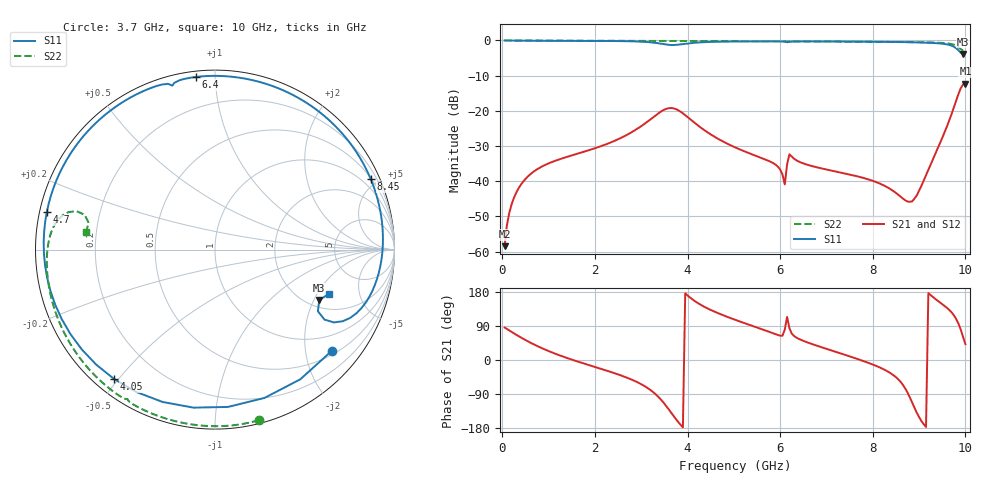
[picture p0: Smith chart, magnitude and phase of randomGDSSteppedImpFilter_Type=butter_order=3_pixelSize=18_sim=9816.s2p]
! freq	dB(S11)	phase(S11)	dB(S12)	phase(S12)
!  dB(S21)	phase(S21)	dB(S22)	phase(S22)
!S-par simulation data
#  GHz  S  DB  R 50
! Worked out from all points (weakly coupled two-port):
!   200 points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, 50 MHz to 10 GHz, reference 50 ohm
!   highest |S21| = -12.27 dB at 10 GHz (marker M1); lowest = -58.5 dB at 50 MHz (marker M2)
!   lowest |S11| = -3.8 dB at 9.95 GHz (marker M3), VSWR 4.64, Z = 115 - j110 ohm
!   |S11| at or under -10 dB: nowhere
!   |S22| runs from -2.9 to 0.0 dB; largest |S21 - S12| = 0
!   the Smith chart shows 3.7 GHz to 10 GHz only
!   S11 on the Smith chart (normalised r, x): 3.7 GHz: 0.59, -2.57; 4.05 GHz: 0.06, -0.49; 4.7 GHz: 0.02, +0.11; 6.4 GHz: 0.03, +0.90; 8.45 GHz: 0.54, +4.58; 10 GHz: 2.78, -2.55
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0.05  -0.01 -6.8  -58.46 85.6  -58.46 85.6  -0.00 -1.1
0.25  -0.04 -33.3  -44.76 70.4  -44.76 70.4  -0.01 -5.4
0.7  -0.09 -84.7  -37.06 40.1  -37.06 40.1  -0.02 -15.0
1.75  -0.12 -162.0  -31.68 -8.8  -31.68 -8.8  -0.05 -37.0
2.75  -0.23 136.8  -26.40 -49.5  -26.40 -49.5  -0.08 -57.3
3.15  -0.47 95.6  -22.92 -74.9  -22.92 -74.9  -0.11 -65.2
3.4  -0.86 49.3  -20.44 -101.1  -20.44 -101.1  -0.14 -70.1
3.55  -1.18 7.8  -19.39 -123.0  -19.39 -123.0  -0.15 -72.9
3.7  -1.30 -40.8  -19.30 -147.9  -19.30 -147.9  -0.16 -75.6
3.85  -1.11 -85.3  -20.24 -171.0  -20.24 -171.0  -0.15 -78.3
4.05  -0.78 -127.9  -22.29 165.2  -22.29 165.2  -0.14 -82.1
4.7  -0.35 167.4  -28.25 121.5  -28.25 121.5  -0.15 -94.2
5.05  -0.30 148.5  -30.51 105.1  -30.51 105.1  -0.16 -100.6
6.1  -0.36 105.8  -40.90 80.5  -40.90 80.5  -0.25 -119.7
6.2  -0.39 103.7  -32.36 83.9  -32.36 83.9  -0.27 -120.9
6.4  -0.28 96.2  -34.40 55.9  -34.40 55.9  -0.24 -124.6
6.7  -0.29 85.7  -35.74 41.6  -35.74 41.6  -0.26 -130.0
8.35  -0.41 28.0  -41.99 -32.2  -41.99 -32.2  -0.41 -160.0
8.45  -0.42 24.3  -42.84 -40.4  -42.84 -40.4  -0.43 -161.9
8.95  -0.54 5.7  -44.04 -139.2  -44.04 -139.2  -0.50 -171.9
9.95  -3.80 -25.8  -12.51 61.0  -12.51 61.0  -2.87 168.1
10  -3.32 -21.1  -12.27 41.8  -12.27 41.8  -2.78 172.1
